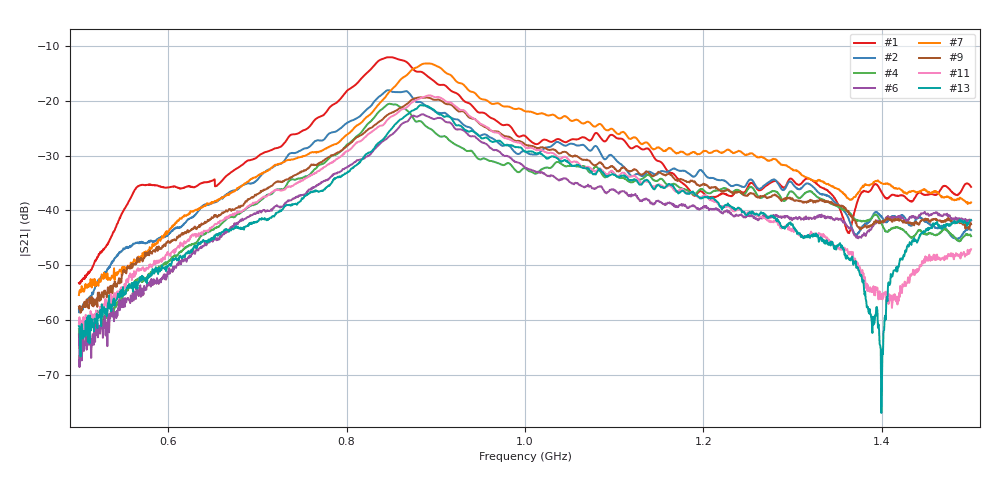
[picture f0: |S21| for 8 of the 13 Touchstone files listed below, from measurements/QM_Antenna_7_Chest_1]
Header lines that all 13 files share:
!Agilent Technologies,E8364B,US42250235,A.06.04.32
!Agilent E8364B: A.06.04.32
!Correction: S11(Full 2 Port(1,2)) S21(Full 2 Port(1,2)) S12(Full 2 Port(1,2)) S22(Full 2 Port(1,2))
!S2P File: Measurements: S11, S21, S12, S22:
# Hz S  dB  R 50
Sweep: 500 MHz to 1.5 GHz
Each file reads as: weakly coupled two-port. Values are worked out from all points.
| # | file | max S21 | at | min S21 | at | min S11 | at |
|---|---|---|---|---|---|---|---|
| 1 | 0_1.s2p | -12.02 dB | 847.3 MHz | -53.4 dB | 500.8 MHz | -22.9 dB | 1.371 GHz |
| 2 | 0_5.s2p | -18.03 dB | 847.3 MHz | -58.6 dB | 500.4 MHz | -57.5 dB | 1.014 GHz |
| 3 | 0_8.s2p | -19.54 dB | 858.2 MHz | -61.8 dB | 501.9 MHz | -31.9 dB | 914.9 MHz |
| 4 | 0_10.s2p | -20.51 dB | 848.1 MHz | -62.8 dB | 501.1 MHz | -40.8 dB | 1.145 GHz |
| 5 | 1_1.s2p | -27.05 dB | 883.8 MHz | -63.4 dB | 505.6 MHz | -32.6 dB | 822.5 MHz |
| 6 | 1_6.s2p | -22.42 dB | 885 MHz | -68.6 dB | 500.6 MHz | -61.1 dB | 861.2 MHz |
| 7 | 3_2.s2p | -13.14 dB | 892.5 MHz | -55.4 dB | 500 MHz | -54.9 dB | 1.042 GHz |
| 8 | 3_5.s2p | -18.18 dB | 894.4 MHz | -61.8 dB | 501.2 MHz | -32.4 dB | 875.6 MHz |
| 9 | 3_6.s2p | -19.33 dB | 882.5 MHz | -58.7 dB | 501.9 MHz | -62.1 dB | 1.147 GHz |
| 10 | 4_1.s2p | -15.65 dB | 887.5 MHz | -58.5 dB | 503.8 MHz | -31.0 dB | 1.206 GHz |
| 11 | 4_6.s2p | -18.96 dB | 892.5 MHz | -63.3 dB | 501.2 MHz | -46.9 dB | 1.131 GHz |
| 12 | 5_3.s2p | -20.96 dB | 888.1 MHz | -80.2 dB | 1.383 GHz | -62.1 dB | 1.108 GHz |
| 13 | 5_4.s2p | -20.77 dB | 883.8 MHz | -77.0 dB | 1.399 GHz | -58.0 dB | 868.1 MHz |
